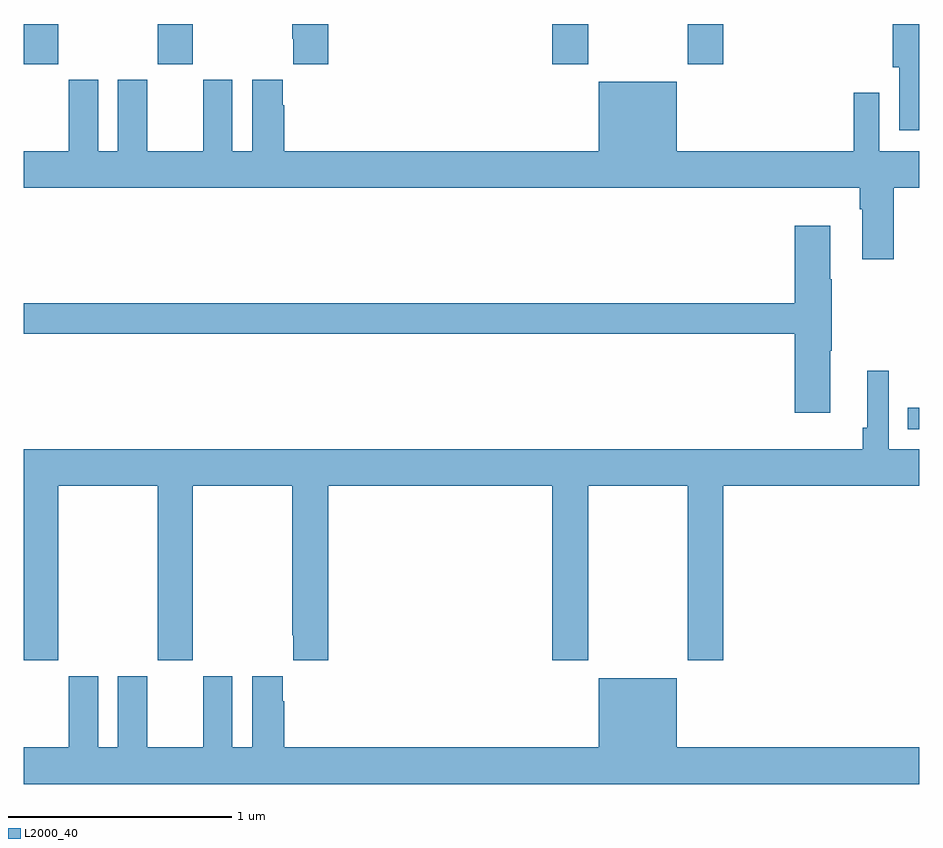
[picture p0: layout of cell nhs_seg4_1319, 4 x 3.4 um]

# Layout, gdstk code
import gdstk
lib = gdstk.Library(unit=1e-6, precision=1e-09)
def R(c, l, rs):  # rectangles x0, y0, x1, y1
    for r in rs: c.add(gdstk.rectangle(r[:2], r[2:], *l))
def P(c, l, *ps):  # polygons
    for p in ps: c.add(gdstk.Polygon(p, *l))
L2000_40 = (2000, 40)

nhs_seg4_1319 = lib.new_cell('nhs_seg4_1319')
R(nhs_seg4_1319, L2000_40, [(182.95,781.089,183,781.185), (179,782.721,179.154,782.9), (179.599,782.721,179.754,782.9), (181.361,782.721,181.521,782.9), (181.966,782.721,182.126,782.9)])
P(nhs_seg4_1319, L2000_40, [(183,782.9),(182.882,782.9),(182.882,782.706),(182.912,782.706),(182.912,782.426),(183,782.426)],
  [(180.359,782.9),(180.199,782.9),(180.199,782.833),(180.203,782.833),(180.203,782.721),(180.359,782.721)],
  [(182.887,782.168),(183,782.168),(183,782.332),(182.823,782.332),(182.823,782.593),(182.707,782.593),(182.707,782.332),(181.918,782.332),(181.918,782.641),(181.568,782.641),(181.568,782.332),(180.164,782.332),(180.164,782.537),(180.157,782.537),(180.157,782.65),(180.02,782.65),(180.02,782.332),(179.932,782.332),(179.932,782.65),(179.801,782.65),(179.801,782.332),(179.551,782.332),(179.551,782.65),(179.42,782.65),(179.42,782.332),(179.332,782.332),(179.332,782.65),(179.201,782.65),(179.201,782.332),(179,782.332),(179,782.168),(182.735,782.168),(182.735,782.072),(182.747,782.072),(182.747,781.848),(182.887,781.848)],
  [(182.602,781.439),(182.61,781.439),(182.61,781.76),(182.602,781.76),(182.602,781.999),(182.444,781.999),(182.444,781.652),(179,781.652),(179,781.516),(182.444,781.516),(182.444,781.164),(182.602,781.164)],
  [(179.154,780.836),(179.599,780.836),(179.599,780.057),(179.754,780.057),(179.754,780.836),(180.199,780.836),(180.199,780.169),(180.203,780.169),(180.203,780.057),(180.359,780.057),(180.359,780.836),(181.361,780.836),(181.361,780.057),(181.521,780.057),(181.521,780.836),(181.966,780.836),(181.966,780.057),(182.126,780.057),(182.126,780.836),(183,780.836),(183,781),(182.865,781),(182.865,781.351),(182.768,781.351),(182.768,781.096),(182.749,781.096),(182.749,781),(179,781),(179,780.057),(179.154,780.057)],
  [(183,779.668),(181.918,779.668),(181.918,779.977),(181.568,779.977),(181.568,779.668),(180.164,779.668),(180.164,779.873),(180.157,779.873),(180.157,779.986),(180.02,779.986),(180.02,779.668),(179.932,779.668),(179.932,779.986),(179.801,779.986),(179.801,779.668),(179.551,779.668),(179.551,779.986),(179.42,779.986),(179.42,779.668),(179.332,779.668),(179.332,779.986),(179.201,779.986),(179.201,779.668),(179,779.668),(179,779.504),(183,779.504)])

lib.write_gds('nhs_seg4_1319.gds')
